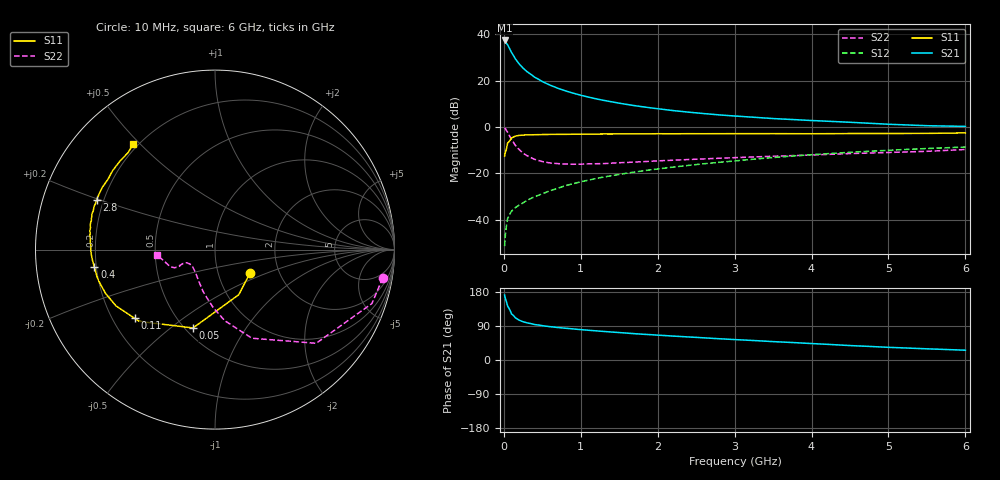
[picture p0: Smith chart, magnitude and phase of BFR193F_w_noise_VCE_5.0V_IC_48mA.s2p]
! Infineon Technologies  Discrete & RF Semiconductors
! BFR193F
! VCE =  5.0 V,  IC =  48 mA
! Common Emitter S-Parameters:  Jan 2017
# GHz  S  MA  R  50
!  f  S11  S21  S12  S22
! GHz  MAG  ANG  MAG  ANG  MAG  ANG  MAG  ANG
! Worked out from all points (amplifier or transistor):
!   77 points, 10 MHz to 6 GHz, reference 50 ohm
!   highest |S21| = 37.3 dB at 10 MHz (marker M1)
!   |S21| within 3 dB of that: start of sweep to 66.8 MHz
!   unconditionally stable (mu >= 1): 897.6 MHz to 2.557 GHz
!   at 130 MHz: K = 0.49, MSG = 32.9 dB, |S12| = -35.3 dB
!   at 2.2 GHz: K = 1.01, MAG = 11.4 dB, |S12| = -17.3 dB
!   at 6 GHz: K = 0.87, MSG = 4.4 dB, |S12| = -8.7 dB
!   lowest NFmin = 1.45 dB at 450 MHz
!   S11 on the Smith chart (normalised r, x): 10 MHz: 1.42, -0.40; 50 MHz: 0.55, -0.60; 110 MHz: 0.29, -0.34; 400 MHz: 0.19, -0.07; 2.8 GHz: 0.17, +0.20; 6 GHz: 0.18, +0.48
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0.01  0.2351 -34.4  72.93 171.2  0.0027 88.0  0.9482 -9.6
0.02  0.284 -62.2  70.07 162.4  0.0047 77.8  0.9242 -19.0
0.05  0.4537 -105.7  58.4 141.7  0.0107 62.6  0.7682 -42.8
0.1  0.5816 -136.6  40.11 121.5  0.0153 54.1  0.5348 -67.4
0.11  0.5893 -139.5  37.86 119.9  0.0159 53.8  0.5057 -69.7
0.15  0.6346 -150.4  29.25 111.3  0.0183 52.9  0.4005 -82.1
0.2  0.6565 -158.1  22.72 105.1  0.0207 53.0  0.3238 -91.7
0.25  0.6674 -163.4  18.47 101.0  0.0231 55.7  0.2717 -99.7
0.3  0.6745 -166.8  15.56 98.1  0.0262 57.8  0.241 -106.2
0.4  0.6793 -171.8  11.79 93.6  0.0313 61.9  0.2003 -116.4
0.5  0.6852 -175.0  9.501 90.6  0.0363 65.0  0.1795 -124.2
0.6  0.6897 -177.7  7.958 88.0  0.0422 67.2  0.1674 -130.7
0.7  0.6921 -180.0  6.839 85.7  0.0477 68.4  0.1621 -135.6
0.9  0.6962 176.6  5.345 82.0  0.0598 71.1  0.157 -143.2
1.1  0.7007 173.8  4.39 78.5  0.0715 72.3  0.1603 -147.8
1.5  0.7079 169.0  3.249 72.4  0.0949 73.3  0.1695 -153.4
2.1  0.7129 163.1  2.358 64.4  0.1303 73.1  0.1888 -156.2
2.8  0.7154 157.1  1.817 56.1  0.1729 71.7  0.2117 -156.1
3.1  0.7161 154.6  1.678 52.9  0.1917 71.1  0.2212 -155.0
4.1  0.7145 145.9  1.351 42.4  0.2585 67.0  0.252 -156.6
5.1  0.7235 136.1  1.126 32.7  0.3198 61.2  0.2847 -165.5
6  0.7444 127.6  1.027 25.8  0.3693 55.9  0.3265 -174.8
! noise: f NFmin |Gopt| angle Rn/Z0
0.45  1.45  0.46  -180  0.07
0.9  1.54  0.47  -179  0.07
1.9  2.11  0.6  -164  0.09
2.4  2.42  0.62  -156  0.14
